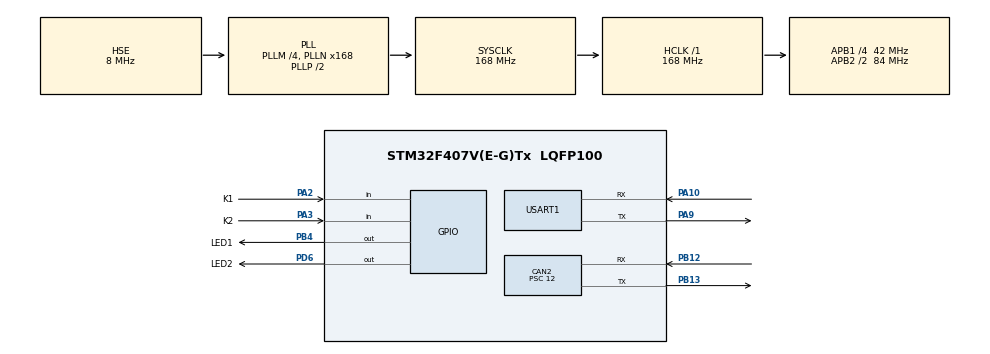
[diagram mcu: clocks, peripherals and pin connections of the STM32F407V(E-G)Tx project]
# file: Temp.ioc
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CAN2.BS1=CAN_BS1_5TQ
CAN2.CalculateBaudRate=500000
CAN2.CalculateTimeBit=2000
CAN2.CalculateTimeQuantum=285.7142857142857
CAN2.Mode=CAN_MODE_LOOPBACK
CAN2.Prescaler=12
CAN2.SJW=CAN_SJW_2TQ
Mcu.Family=STM32F4
Mcu.Name=STM32F407V(E-G)Tx
Mcu.Package=LQFP100
NVIC.CAN2_RX0_IRQn=true\:0\:0\:false\:false\:true\:true\:true\:true
NVIC.PriorityGroup=NVIC_PRIORITYGROUP_4
NVIC.USART1_IRQn=true\:0\:0\:false\:false\:true\:true\:true\:true
PA10.Mode=Asynchronous
PA10.Signal=USART1_RX
PA13.Mode=Serial_Wire
PA13.Signal=SYS_JTMS-SWDIO
PA14.Mode=Serial_Wire
PA14.Signal=SYS_JTCK-SWCLK
PA2.GPIO_Label=K1
PA2.GPIO_Mode=GPIO_MODE_INPUT
PA2.Signal=GPIO_Input
PA3.GPIO_Label=K2
PA3.Signal=GPIO_Input
PA9.Mode=Asynchronous
PA9.Signal=USART1_TX
PB12.Mode=CAN_Activate
PB12.Signal=CAN2_RX
PB13.Mode=CAN_Activate
PB13.Signal=CAN2_TX
PB4.GPIO_Label=LED1
PB4.GPIO_ModeDefaultOutputPP=GPIO_MODE_OUTPUT_PP
PB4.GPIO_PuPd=GPIO_PULLUP
PB4.GPIO_Speed=GPIO_SPEED_FREQ_HIGH
PB4.PinState=GPIO_PIN_SET
PB4.Signal=GPIO_Output
PB8.Signal=CAN1_RX
PB9.Signal=CAN1_TX
PC14-OSC32_IN.Mode=LSE-External-Oscillator
PC14-OSC32_IN.Signal=RCC_OSC32_IN
PC15-OSC32_OUT.Mode=LSE-External-Oscillator
PC15-OSC32_OUT.Signal=RCC_OSC32_OUT
PD6.GPIO_Label=LED2
PD6.GPIO_ModeDefaultOutputPP=GPIO_MODE_OUTPUT_PP
PD6.GPIO_PuPd=GPIO_PULLUP
PD6.GPIO_Speed=GPIO_SPEED_FREQ_HIGH
PD6.PinState=GPIO_PIN_SET
PD6.Signal=GPIO_Output
PH0-OSC_IN.Mode=HSE-External-Oscillator
PH0-OSC_IN.Signal=RCC_OSC_IN
PH1-OSC_OUT.Mode=HSE-External-Oscillator
PH1-OSC_OUT.Signal=RCC_OSC_OUT
ProjectManager.HeapSize=0x200
ProjectManager.StackSize=0x400
ProjectManager.TargetToolchain=MDK-ARM V5.32
RCC.48MHZClocksFreq_Value=84000000
RCC.AHBFreq_Value=168000000
RCC.APB1CLKDivider=RCC_HCLK_DIV4
RCC.APB1Freq_Value=42000000
RCC.APB1TimFreq_Value=84000000
RCC.APB2CLKDivider=RCC_HCLK_DIV2
RCC.APB2Freq_Value=84000000
RCC.APB2TimFreq_Value=168000000
RCC.CortexFreq_Value=168000000
RCC.HCLKFreq_Value=168000000
RCC.HSE_VALUE=8000000
RCC.HSI_VALUE=16000000
RCC.PLLM=4
RCC.PLLN=168
RCC.PLLSourceVirtual=RCC_PLLSOURCE_HSE
RCC.RCC_MCO1Source=RCC_MCO1SOURCE_HSE
RCC.RCC_MCODiv2=RCC_MCODIV_5
RCC.SYSCLKFreq_VALUE=168000000
RCC.SYSCLKSource=RCC_SYSCLKSOURCE_PLLCLK
RCC.VCOOutputFreq_Value=336000000
USART1.VirtualMode=VM_ASYNC
board=custom

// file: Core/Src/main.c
/* USER CODE BEGIN Header */
/**
  ******************************************************************************
  * @file           : main.c
  * @brief          : Main program body
  ******************************************************************************
  * @attention
  *
  * Copyright (c) 2025 STMicroelectronics.
  * All rights reserved.
  *
  * This software is licensed under terms that can be found in the LICENSE file
  * in the root directory of this software component.
  * If no LICENSE file comes with this software, it is provided AS-IS.
  *
  ******************************************************************************
  */
/* USER CODE END Header */
#include "main.h"
#include "can.h"
#include "usart.h"
#include "gpio.h"

/* USER CODE BEGIN Includes */
#include "stdio.h"//printf函数�?
/* USER CODE END Includes */

/* USER CODE BEGIN PTD */
uint8_t rx_buff[100];  //接收缓存
uint8_t rx_done = 0; //接收完成标志
uint8_t rx_cnt = 0;//接收数据长度
//CAN全局变量
CAN_TxHeaderTypeDef TxHeaderCAN2;
CAN_RxHeaderTypeDef RxHeaderCAN2;
uint8_t TxDataCAN2[8],RxDataCAN2[8];
uint8_t CAN2_Rx_Flag=0;//CAN接收标志
/* USER CODE END PTD */

void SystemClock_Config(void);
/* USER CODE BEGIN PFP */
void filter_init(void);
void CAN_Test(void);
/* USER CODE END PFP */

int main(void)
{

  /* MCU Configuration--------------------------------------------------------*/

  /* Reset of all peripherals, Initializes the Flash interface and the Systick. */
  HAL_Init();

  /* Configure the system clock */
  SystemClock_Config();

  /* Initialize all configured peripherals */
  MX_GPIO_Init();
  MX_USART1_UART_Init();
  MX_CAN2_Init();
  /* USER CODE BEGIN 2 */

  printf("hello,enjoy!\r\n");

	filter_init();
	 HAL_Delay(1000);
	CAN_Test();
  /* USER CODE END 2 */

  /* Infinite loop */
  while (1)
  {

    /* USER CODE BEGIN 3 */
//处理CAN接收数据
      if(CAN2_Rx_Flag)
      {
          CAN2_Rx_Flag = 0;//清空CAN接收标志
      		printf("CAN receive data\r\n");
      		for (int i = 0; i < 8; i++)
        	printf(" 0x%02x", RxDataCAN2[i]);
      		printf("\r\n");
      }
  }
  /* USER CODE END 3 */
}

void SystemClock_Config(void)
{
  RCC_OscInitTypeDef RCC_OscInitStruct = {0};
  RCC_ClkInitTypeDef RCC_ClkInitStruct = {0};

  /** Configure the main internal regulator output voltage
  */
  __HAL_RCC_PWR_CLK_ENABLE();
  __HAL_PWR_VOLTAGESCALING_CONFIG(PWR_REGULATOR_VOLTAGE_SCALE1);

  /** Initializes the RCC Oscillators according to the specified parameters
  * in the RCC_OscInitTypeDef structure.
  */
  RCC_OscInitStruct.OscillatorType = RCC_OSCILLATORTYPE_HSE;
  RCC_OscInitStruct.HSEState = RCC_HSE_ON;
  RCC_OscInitStruct.PLL.PLLState = RCC_PLL_ON;
  RCC_OscInitStruct.PLL.PLLSource = RCC_PLLSOURCE_HSE;
  RCC_OscInitStruct.PLL.PLLM = 4;
  RCC_OscInitStruct.PLL.PLLN = 168;
  RCC_OscInitStruct.PLL.PLLP = RCC_PLLP_DIV2;
  RCC_OscInitStruct.PLL.PLLQ = 4;
  if (HAL_RCC_OscConfig(&RCC_OscInitStruct) != HAL_OK)
  {
    Error_Handler();
  }

  /** Initializes the CPU, AHB and APB buses clocks
  */
  RCC_ClkInitStruct.ClockType = RCC_CLOCKTYPE_HCLK|RCC_CLOCKTYPE_SYSCLK
                              |RCC_CLOCKTYPE_PCLK1|RCC_CLOCKTYPE_PCLK2;
  RCC_ClkInitStruct.SYSCLKSource = RCC_SYSCLKSOURCE_PLLCLK;
  RCC_ClkInitStruct.AHBCLKDivider = RCC_SYSCLK_DIV1;
  RCC_ClkInitStruct.APB1CLKDivider = RCC_HCLK_DIV4;
  RCC_ClkInitStruct.APB2CLKDivider = RCC_HCLK_DIV2;

  if (HAL_RCC_ClockConfig(&RCC_ClkInitStruct, FLASH_LATENCY_5) != HAL_OK)
  {
    Error_Handler();
  }
}

/* USER CODE BEGIN 4 */
#ifdef __GNUC__
#define PUTCHAR_PROTOTYPE int __io_putchar(int ch)
#else
#define PUTCHAR_PROTOTYPE int fputc(int ch,FILE *f)
#endif /* __GNUC__ */
//重定向printf函数
PUTCHAR_PROTOTYPE
{
    HAL_UART_Transmit(&huart1,(uint8_t *)&ch,1,HAL_MAX_DELAY);//输出指向串口USART1
    return ch;
}
void filter_init(void)
{
    HAL_StatusTypeDef HAL_Status;
    CAN_FilterTypeDef Filter0;
    Filter0.FilterBank = 14;//CAN2 filter begin form 14 end 27
    Filter0.FilterMode = CAN_FILTERMODE_IDMASK;
    Filter0.FilterScale = CAN_FILTERSCALE_32BIT;
    Filter0.FilterIdHigh = 0x00;
    Filter0.FilterIdLow = 0x00;
    Filter0.FilterMaskIdHigh = 0x00;
    Filter0.FilterMaskIdLow = 0x00;
    Filter0.FilterFIFOAssignment = CAN_FILTER_FIFO0;
    Filter0.FilterActivation = CAN_FILTER_ENABLE;
		Filter0.SlaveStartFilterBank = 14;//CAN2 add this

    HAL_Status = HAL_CAN_ConfigFilter(&hcan2,&Filter0);
    if(HAL_Status != HAL_OK)
    {
        printf("CAN Filter set Fail!code:%d\r\n",HAL_Status);
        Error_Handler();
    }
}
//重定义CAN接收中断回调函数
void HAL_CAN_RxFifo0MsgPendingCallback(CAN_HandleTypeDef *hcan)
{
    HAL_StatusTypeDef HAL_Status;
    if(hcan->Instance == CAN2)
    {
        HAL_Status = HAL_CAN_GetRxMessage(hcan,CAN_RX_FIFO0,&RxHeaderCAN2,RxDataCAN2);
        if(HAL_Status == HAL_OK)
        {
            //处理接收数据
            CAN2_Rx_Flag = 1;
        }
    }
}
void CAN_Test(void)
{
    //发�?�数据CAN
    TxHeaderCAN2.ExtId = 0x1800F001;
    TxHeaderCAN2.DLC = 8;
    TxHeaderCAN2.IDE = CAN_ID_STD;
    TxHeaderCAN2.RTR = CAN_RTR_DATA;
    TxHeaderCAN2.StdId = 0x01;
    TxHeaderCAN2.TransmitGlobalTime = ENABLE;

    uint32_t TxMailBox;
    //HAL_StatusTypeDef HAL_Status;
    printf("\r\n\r\n------------------CAN2 test------------------\r\n\r\n");
    for (int i = 0; i < 8; ++i) TxDataCAN2[i] = i;
    printf("CAN send data\r\n");
    for (int i = 0; i < 8; ++i) printf(" 0x%02x",TxDataCAN2[i]);
    printf("\r\n");
    HAL_CAN_AddTxMessage(&hcan2,&TxHeaderCAN2,TxDataCAN2,&TxMailBox);

}
/* USER CODE END 4 */

void Error_Handler(void)
{
  __disable_irq();
  while (1)
  {
  }
}
